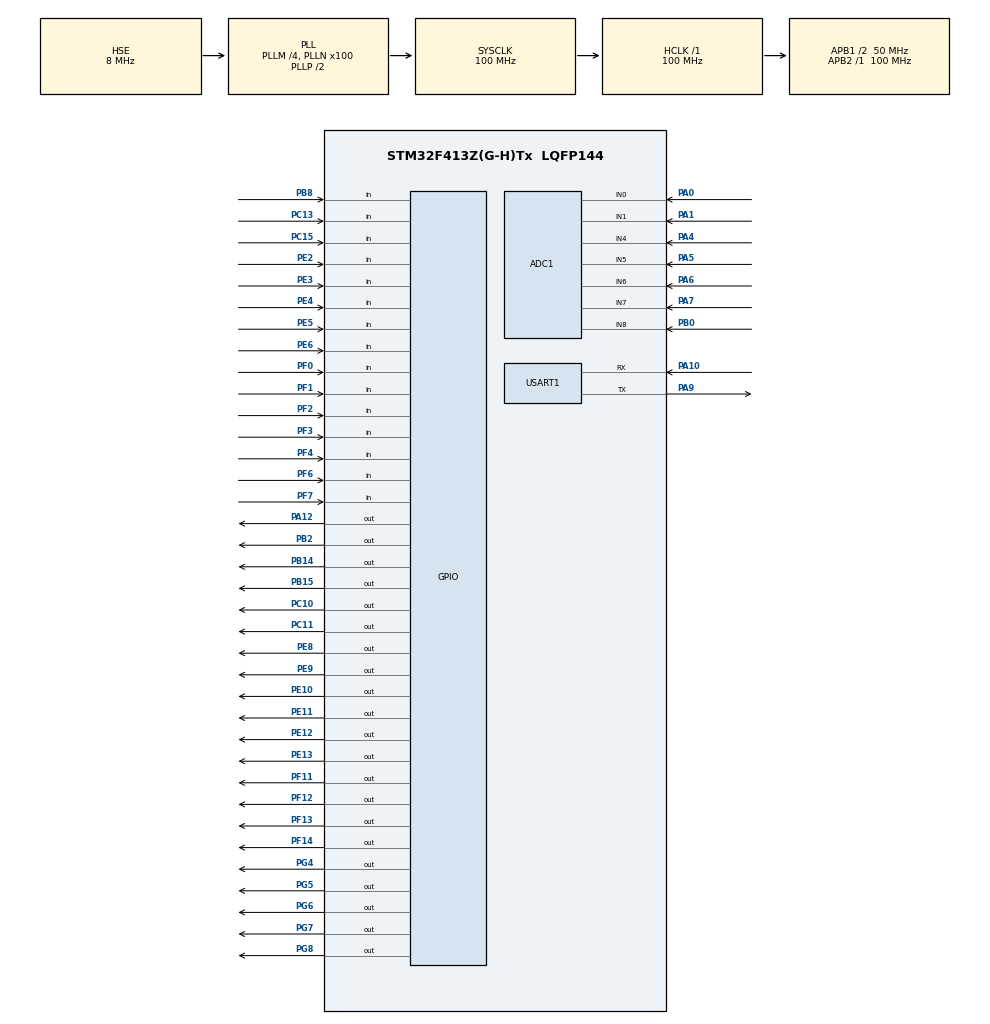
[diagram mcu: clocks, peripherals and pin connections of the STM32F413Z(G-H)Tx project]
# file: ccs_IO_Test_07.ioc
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ADC1.Channel-0\#ChannelRegularConversion=ADC_CHANNEL_0
ADC1.Channel-1\#ChannelRegularConversion=ADC_CHANNEL_1
ADC1.Channel-2\#ChannelRegularConversion=ADC_CHANNEL_4
ADC1.Channel-3\#ChannelRegularConversion=ADC_CHANNEL_5
ADC1.Channel-4\#ChannelRegularConversion=ADC_CHANNEL_6
ADC1.Channel-5\#ChannelRegularConversion=ADC_CHANNEL_7
ADC1.Channel-6\#ChannelRegularConversion=ADC_CHANNEL_8
ADC1.ContinuousConvMode=ENABLE
ADC1.DMAContinuousRequests=ENABLE
ADC1.NbrOfConversion=7
ADC1.NbrOfConversionFlag=1
ADC1.Rank-0\#ChannelRegularConversion=1
ADC1.Rank-1\#ChannelRegularConversion=2
ADC1.Rank-2\#ChannelRegularConversion=3
ADC1.Rank-3\#ChannelRegularConversion=4
ADC1.Rank-4\#ChannelRegularConversion=5
ADC1.Rank-5\#ChannelRegularConversion=6
ADC1.Rank-6\#ChannelRegularConversion=7
ADC1.SamplingTime-0\#ChannelRegularConversion=ADC_SAMPLETIME_28CYCLES
ADC1.SamplingTime-1\#ChannelRegularConversion=ADC_SAMPLETIME_28CYCLES
ADC1.SamplingTime-2\#ChannelRegularConversion=ADC_SAMPLETIME_28CYCLES
ADC1.SamplingTime-3\#ChannelRegularConversion=ADC_SAMPLETIME_28CYCLES
ADC1.SamplingTime-4\#ChannelRegularConversion=ADC_SAMPLETIME_28CYCLES
ADC1.SamplingTime-5\#ChannelRegularConversion=ADC_SAMPLETIME_28CYCLES
ADC1.SamplingTime-6\#ChannelRegularConversion=ADC_SAMPLETIME_28CYCLES
ADC1.ScanConvMode=ENABLE
ADC1.master=1
Dma.ADC1.0.Direction=DMA_PERIPH_TO_MEMORY
Dma.ADC1.0.FIFOMode=DMA_FIFOMODE_DISABLE
Dma.ADC1.0.Instance=DMA2_Stream0
Dma.ADC1.0.MemDataAlignment=DMA_MDATAALIGN_HALFWORD
Dma.ADC1.0.MemInc=DMA_MINC_ENABLE
Dma.ADC1.0.Mode=DMA_CIRCULAR
Dma.ADC1.0.PeriphDataAlignment=DMA_PDATAALIGN_HALFWORD
Dma.ADC1.0.PeriphInc=DMA_PINC_DISABLE
Dma.ADC1.0.Priority=DMA_PRIORITY_LOW
Dma.Request0=ADC1
Mcu.Family=STM32F4
Mcu.Name=STM32F413Z(G-H)Tx
Mcu.Package=LQFP144
NVIC.DMA2_Stream0_IRQn=true\:0\:0\:false\:false\:true\:false\:true
NVIC.PriorityGroup=NVIC_PRIORITYGROUP_4
NVIC.TIM1_UP_TIM10_IRQn=true\:0\:0\:false\:false\:true\:true\:true
NVIC.USART1_IRQn=true\:0\:0\:false\:true\:true\:1\:true\:true
PA0.Signal=ADCx_IN0
PA1.Signal=ADCx_IN1
PA10.Mode=Asynchronous
PA10.Signal=USART1_RX
PA12.Signal=GPIO_Output
PA13.Mode=Serial_Wire
PA13.Signal=SYS_JTMS-SWDIO
PA14.Mode=Serial_Wire
PA14.Signal=SYS_JTCK-SWCLK
PA4.Signal=ADCx_IN4
PA5.Signal=ADCx_IN5
PA6.Signal=ADCx_IN6
PA7.Signal=ADCx_IN7
PA9.Mode=Asynchronous
PA9.Signal=USART1_TX
PB0.Signal=ADCx_IN8
PB14.Signal=GPIO_Output
PB15.Signal=GPIO_Output
PB2.Signal=GPIO_Output
PB8.Signal=GPIO_Input
PC10.Signal=GPIO_Output
PC11.Signal=GPIO_Output
PC13.Signal=GPIO_Input
PC15-OSC32_OUT.Signal=GPIO_Input
PE10.Signal=GPIO_Output
PE11.Signal=GPIO_Output
PE12.Signal=GPIO_Output
PE13.Signal=GPIO_Output
PE2.Signal=GPIO_Input
PE3.Signal=GPIO_Input
PE4.Signal=GPIO_Input
PE5.Signal=GPIO_Input
PE6.Signal=GPIO_Input
PE8.Signal=GPIO_Output
PE9.Signal=GPIO_Output
PF0.Signal=GPIO_Input
PF1.Signal=GPIO_Input
PF11.Signal=GPIO_Output
PF12.Signal=GPIO_Output
PF13.Signal=GPIO_Output
PF14.Signal=GPIO_Output
PF2.Signal=GPIO_Input
PF3.Signal=GPIO_Input
PF4.Signal=GPIO_Input
PF6.Signal=GPIO_Input
PF7.Signal=GPIO_Input
PG4.Signal=GPIO_Output
PG5.Signal=GPIO_Output
PG6.Signal=GPIO_Output
PG7.Signal=GPIO_Output
PG8.Signal=GPIO_Output
PH0\ -\ OSC_IN.Mode=HSE-External-Oscillator
PH0\ -\ OSC_IN.Signal=RCC_OSC_IN
PH1\ -\ OSC_OUT.Mode=HSE-External-Oscillator
PH1\ -\ OSC_OUT.Signal=RCC_OSC_OUT
ProjectManager.HeapSize=0x200
ProjectManager.StackSize=0x400
ProjectManager.TargetToolchain=STM32CubeIDE
RCC.AHBFreq_Value=100000000
RCC.APB1CLKDivider=RCC_HCLK_DIV2
RCC.APB1Freq_Value=50000000
RCC.APB1TimFreq_Value=100000000
RCC.APB2Freq_Value=100000000
RCC.APB2TimFreq_Value=100000000
RCC.CortexFreq_Value=100000000
RCC.HCLKFreq_Value=100000000
RCC.HSE_VALUE=8000000
RCC.PLLM=4
RCC.PLLN=100
RCC.PLLSourceVirtual=RCC_PLLSOURCE_HSE
RCC.SYSCLKFreq_VALUE=100000000
RCC.SYSCLKSource=RCC_SYSCLKSOURCE_PLLCLK
RCC.USBFreq_Value=100000000
RCC.VCOOutputFreq_Value=200000000
SH.ADCx_IN0.0=ADC1_IN0,IN0
SH.ADCx_IN1.0=ADC1_IN1,IN1
SH.ADCx_IN4.0=ADC1_IN4,IN4
SH.ADCx_IN5.0=ADC1_IN5,IN5
SH.ADCx_IN6.0=ADC1_IN6,IN6
SH.ADCx_IN7.0=ADC1_IN7,IN7
SH.ADCx_IN8.0=ADC1_IN8,IN8
TIM1.Channel-Output\ Compare1\ No\ Output=TIM_CHANNEL_1
TIM1.Period=49999
TIM1.Pulse-Output\ Compare1\ No\ Output=49999
USART1.VirtualMode=VM_ASYNC
VP_TIM1_VS_no_output1.Mode=Output Compare1 No Output
board=custom

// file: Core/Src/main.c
/* USER CODE BEGIN Header */
/**
  ******************************************************************************
  * @file           : main.c
  * @brief          : Main program body
  ******************************************************************************
  * @attention
  *
  * <h2><center>&copy; Copyright (c) 2020 STMicroelectronics.
  * All rights reserved.</center></h2>
  *
  * This software component is licensed by ST under BSD 3-Clause license,
  * the "License"; You may not use this file except in compliance with the
  * License. You may obtain a copy of the License at:
  *                        opensource.org/licenses/BSD-3-Clause
  *
  ******************************************************************************
  */
/* USER CODE END Header */
#include "main.h"
#include "adc.h"
#include "dma.h"
#include "tim.h"
#include "usart.h"
#include "gpio.h"

/* USER CODE BEGIN Includes */
#include "evon_loop.h"
#include "evon_init.h"
#include "evon_gpio.h"

/* USER CODE END Includes */

void SystemClock_Config(void);
static void MX_NVIC_Init(void);

/* USER CODE BEGIN 0 */
uint8_t timer_1ms = 0;
uint8_t rx1_data = 0x00;
uint16_t adc_val[7] = {'\0', };

/* USER CODE END 0 */

int main(void)
{

  /* MCU Configuration--------------------------------------------------------*/

  /* Reset of all peripherals, Initializes the Flash interface and the Systick. */
  HAL_Init();

  /* Configure the system clock */
  SystemClock_Config();

  /* Initialize all configured peripherals */
  MX_GPIO_Init();
  MX_DMA_Init();
  MX_TIM1_Init();
  MX_USART1_UART_Init();
  MX_ADC1_Init();

  /* Initialize interrupts */
  MX_NVIC_Init();
  /* USER CODE BEGIN 2 */

  function_config();
  gpio_init();

  //Function_Config();

  /* USER CODE END 2 */

  /* Infinite loop */
  /* USER CODE BEGIN WHILE */

  HAL_UART_Receive_IT(&huart1,  &rx1_data, 1);
  HAL_GPIO_WritePin(GPIOA, GPIO_PIN_12, GPIO_PIN_RESET); //UART1 En_rx_mode
  HAL_ADC_Start_DMA(&hadc1, adc_val, 7);

  startSimpleModbus(1, MDregister, MDcoil);

  while (1)
  {
	  if (timer_1ms == 1)
	  {
		  timer_1ms = 0;
		  func_10ms();
		  func_100ms();
		  func_500ms();
		  func_1s();
	  }
    /* USER CODE END WHILE */

  }
}

void SystemClock_Config(void)
{
  RCC_OscInitTypeDef RCC_OscInitStruct = {0};
  RCC_ClkInitTypeDef RCC_ClkInitStruct = {0};

  /** Configure the main internal regulator output voltage
  */
  __HAL_RCC_PWR_CLK_ENABLE();
  __HAL_PWR_VOLTAGESCALING_CONFIG(PWR_REGULATOR_VOLTAGE_SCALE1);
  /** Initializes the RCC Oscillators according to the specified parameters
  * in the RCC_OscInitTypeDef structure.
  */
  RCC_OscInitStruct.OscillatorType = RCC_OSCILLATORTYPE_HSE;
  RCC_OscInitStruct.HSEState = RCC_HSE_ON;
  RCC_OscInitStruct.PLL.PLLState = RCC_PLL_ON;
  RCC_OscInitStruct.PLL.PLLSource = RCC_PLLSOURCE_HSE;
  RCC_OscInitStruct.PLL.PLLM = 4;
  RCC_OscInitStruct.PLL.PLLN = 100;
  RCC_OscInitStruct.PLL.PLLP = RCC_PLLP_DIV2;
  RCC_OscInitStruct.PLL.PLLQ = 2;
  RCC_OscInitStruct.PLL.PLLR = 2;
  if (HAL_RCC_OscConfig(&RCC_OscInitStruct) != HAL_OK)
  {
    Error_Handler();
  }
  /** Initializes the CPU, AHB and APB buses clocks
  */
  RCC_ClkInitStruct.ClockType = RCC_CLOCKTYPE_HCLK|RCC_CLOCKTYPE_SYSCLK
                              |RCC_CLOCKTYPE_PCLK1|RCC_CLOCKTYPE_PCLK2;
  RCC_ClkInitStruct.SYSCLKSource = RCC_SYSCLKSOURCE_PLLCLK;
  RCC_ClkInitStruct.AHBCLKDivider = RCC_SYSCLK_DIV1;
  RCC_ClkInitStruct.APB1CLKDivider = RCC_HCLK_DIV2;
  RCC_ClkInitStruct.APB2CLKDivider = RCC_HCLK_DIV1;

  if (HAL_RCC_ClockConfig(&RCC_ClkInitStruct, FLASH_LATENCY_3) != HAL_OK)
  {
    Error_Handler();
  }
}

/**
  * @brief NVIC Configuration.
  * @retval None
  */
static void MX_NVIC_Init(void)
{
  /* USART1_IRQn interrupt configuration */
  HAL_NVIC_SetPriority(USART1_IRQn, 0, 0);
  HAL_NVIC_EnableIRQ(USART1_IRQn);
}

/* USER CODE BEGIN 4 */
void HAL_UART_RxCpltCallback(UART_HandleTypeDef *huart)
{
  /* Prevent unused argument(s) compilation warning */
	if(huart->Instance == USART1)
	{
		HAL_UART_Receive_IT(&huart1,  &rx1_data, 1);

		push_ringbuffer(rx1_data);
	}
  /* NOTE: This function should not be modified, when the callback is needed,
           the HAL_UART_RxCpltCallback could be implemented in the user file
   */
}

/* USER CODE END 4 */

void Error_Handler(void)
{
  __disable_irq();
  while (1)
  {
  }
}

/************************ (C) COPYRIGHT STMicroelectronics *****END OF FILE****/
